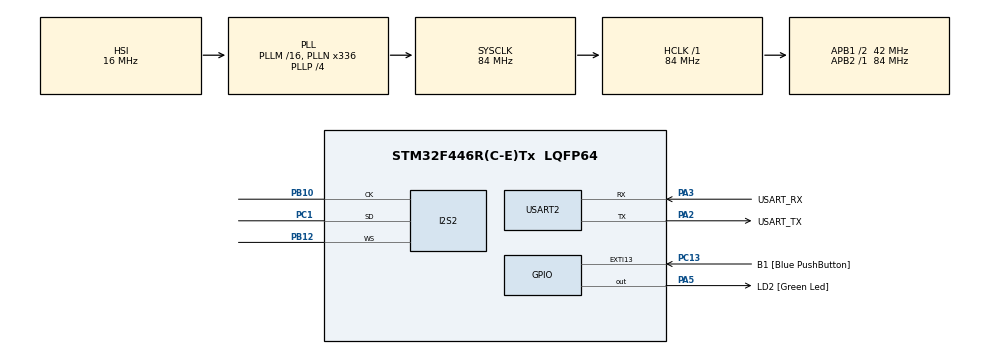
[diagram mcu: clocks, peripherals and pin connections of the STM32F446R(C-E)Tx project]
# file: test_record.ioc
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Dma.Request0=SPI2_TX
Dma.SPI2_TX.0.Direction=DMA_MEMORY_TO_PERIPH
Dma.SPI2_TX.0.FIFOMode=DMA_FIFOMODE_DISABLE
Dma.SPI2_TX.0.Instance=DMA1_Stream4
Dma.SPI2_TX.0.MemDataAlignment=DMA_MDATAALIGN_HALFWORD
Dma.SPI2_TX.0.MemInc=DMA_MINC_ENABLE
Dma.SPI2_TX.0.Mode=DMA_CIRCULAR
Dma.SPI2_TX.0.PeriphDataAlignment=DMA_PDATAALIGN_HALFWORD
Dma.SPI2_TX.0.PeriphInc=DMA_PINC_DISABLE
Dma.SPI2_TX.0.Priority=DMA_PRIORITY_LOW
I2S2.AudioFreq=I2S_AUDIOFREQ_16K
I2S2.DataFormat=I2S_DATAFORMAT_16B_EXTENDED
I2S2.ErrorAudioFreq=-0.26 %
I2S2.FullDuplexMode=I2S_FULLDUPLEXMODE_DISABLE
I2S2.Instance=SPI$Index
I2S2.RealAudioFreq=15.957 KHz
I2S2.VirtualMode=I2S_MODE_MASTER
Mcu.Family=STM32F4
Mcu.Name=STM32F446R(C-E)Tx
Mcu.Package=LQFP64
NVIC.DMA1_Stream4_IRQn=true\:0\:0\:false\:false\:true\:false\:true\:true
NVIC.PriorityGroup=NVIC_PRIORITYGROUP_0
PA13.GPIO_Label=TMS
PA13.Mode=Serial_Wire
PA13.Signal=SYS_JTMS-SWDIO
PA14.GPIO_Label=TCK
PA14.Mode=Serial_Wire
PA14.Signal=SYS_JTCK-SWCLK
PA2.GPIO_Label=USART_TX
PA2.Mode=Asynchronous
PA2.Signal=USART2_TX
PA3.GPIO_Label=USART_RX
PA3.Mode=Asynchronous
PA3.Signal=USART2_RX
PA5.GPIO_Label=LD2 [Green Led]
PA5.Signal=GPIO_Output
PB10.Mode=Half_Duplex_Master
PB10.Signal=I2S2_CK
PB12.Mode=Half_Duplex_Master
PB12.Signal=I2S2_WS
PB3.GPIO_Label=SWO
PB3.Signal=SYS_JTDO-SWO
PC1.Mode=Half_Duplex_Master
PC1.Signal=I2S2_SD
PC13.GPIO_Label=B1 [Blue PushButton]
PC13.GPIO_ModeDefaultEXTI=GPIO_MODE_IT_FALLING
PC13.Signal=GPXTI13
PC14-OSC32_IN.Mode=LSE-External-Oscillator
PC14-OSC32_IN.Signal=RCC_OSC32_IN
PC15-OSC32_OUT.Mode=LSE-External-Oscillator
PC15-OSC32_OUT.Signal=RCC_OSC32_OUT
PH0-OSC_IN.Mode=HSE-External-Oscillator
PH0-OSC_IN.Signal=RCC_OSC_IN
PH1-OSC_OUT.Mode=HSE-External-Oscillator
PH1-OSC_OUT.Signal=RCC_OSC_OUT
ProjectManager.HeapSize=0x200
ProjectManager.StackSize=0x400
ProjectManager.TargetToolchain=STM32CubeIDE
RCC.48MHZClocksFreq_Value=84000000
RCC.AHBFreq_Value=84000000
RCC.APB1CLKDivider=RCC_HCLK_DIV2
RCC.APB1Freq_Value=42000000
RCC.APB1TimFreq_Value=84000000
RCC.APB2Freq_Value=84000000
RCC.APB2TimFreq_Value=84000000
RCC.CortexFreq_Value=84000000
RCC.FLatency-AdvancedSettings=FLASH_LATENCY_2
RCC.HCLKFreq_Value=84000000
RCC.HSE_VALUE=8000000
RCC.HSI_VALUE=16000000
RCC.PLLN=336
RCC.PLLP=RCC_PLLP_DIV4
RCC.SYSCLKFreq_VALUE=84000000
RCC.SYSCLKSource=RCC_SYSCLKSOURCE_PLLCLK
RCC.USBFreq_Value=168000000
RCC.VCOOutputFreq_Value=336000000
USART2.VirtualMode=VM_ASYNC
board=NUCLEO-F446RE

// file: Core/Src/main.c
/* USER CODE BEGIN Header */
/**
  ******************************************************************************
  * @file           : main.c
  * @brief          : Main program body
  ******************************************************************************
  * @attention
  *
  * Copyright (c) 2026 STMicroelectronics.
  * All rights reserved.
  *
  * This software is licensed under terms that can be found in the LICENSE file
  * in the root directory of this software component.
  * If no LICENSE file comes with this software, it is provided AS-IS.
  *
  ******************************************************************************
  */
/* USER CODE END Header */
#include "main.h"

I2S_HandleTypeDef hi2s2;
DMA_HandleTypeDef hdma_spi2_rx;

UART_HandleTypeDef huart2;

/* USER CODE BEGIN PV */
#define I2S_RX_BUF_SIZE 512
#define MAX_SAMPLES (16000 * 10)
#define AUDIO_GAIN 2
#define WARMUP_SAMPLES 4800

uint32_t i2s_rx_buf[I2S_RX_BUF_SIZE];
volatile uint32_t samples_count = 0;
volatile uint32_t total_samples_received = 0;
volatile uint8_t record_active = 0;

#define RING_BUF_SIZE 4096
int16_t ring_buf[RING_BUF_SIZE];
volatile uint32_t ring_head = 0;
volatile uint32_t ring_tail = 0;

void SystemClock_Config(void);
static void MX_GPIO_Init(void);
static void MX_DMA_Init(void);
static void MX_I2S2_Init(void);
static void MX_USART2_UART_Init(void);

static inline void Process_I2S_Samples(uint32_t start_idx, uint32_t end_idx) {
    for (uint32_t i = start_idx; i < end_idx; i += 2) {
        total_samples_received++;
        if (total_samples_received < WARMUP_SAMPLES) continue;

        if (samples_count < MAX_SAMPLES) {
            int16_t L = (int16_t)(i2s_rx_buf[i] & 0xFFFF);
            int16_t R = (int16_t)(i2s_rx_buf[i+1] & 0xFFFF);
            int32_t mixed_long = ((int32_t)L + (int32_t)R) * AUDIO_GAIN;

            if (mixed_long > 32767) mixed_long = 32767;
            else if (mixed_long < -32768) mixed_long = -32768;

            uint32_t next = (ring_head + 1) % RING_BUF_SIZE;
            if (next != ring_tail) {
                ring_buf[ring_head] = (int16_t)mixed_long;
                ring_head = next;
                samples_count++;
            }
        } else {
            record_active = 0;
            return;
        }
    }
}

void HAL_I2S_RxHalfCpltCallback(I2S_HandleTypeDef *hi2s) {
    if (record_active) Process_I2S_Samples(0, I2S_RX_BUF_SIZE / 2);
}

void HAL_I2S_RxCpltCallback(I2S_HandleTypeDef *hi2s) {
    if (record_active) Process_I2S_Samples(I2S_RX_BUF_SIZE / 2, I2S_RX_BUF_SIZE);
}
/* USER CODE END 0 */

int main(void)
{

  /* MCU Configuration--------------------------------------------------------*/

  /* Reset of all peripherals, Initializes the Flash interface and the Systick. */
  HAL_Init();

  /* Configure the system clock */
  SystemClock_Config();

  /* Initialize all configured peripherals */
  MX_GPIO_Init();
  MX_DMA_Init();
  MX_I2S2_Init();
  MX_USART2_UART_Init();

  /* Infinite loop */
  while (1)
  {

  /* USER CODE BEGIN 3 */
    if (ring_tail != ring_head) {
        uint32_t count = 0;
        int16_t tx_buf[64];
        while (ring_tail != ring_head && count < 64) {
            tx_buf[count++] = ring_buf[ring_tail];
            ring_tail = (ring_tail + 1) % RING_BUF_SIZE;
        }
        HAL_UART_Transmit(&huart2, (uint8_t*)tx_buf, count * 2, 100);
    }

    if (HAL_GPIO_ReadPin(GPIOC, GPIO_PIN_13) == GPIO_PIN_RESET) {
        HAL_Delay(50);
        if (!record_active && samples_count == 0) {
            ring_head = 0;
            ring_tail = 0;
            samples_count = 0;
            total_samples_received = 0;

            uint8_t header[4] = {'R', 'E', 'C', '!'};
            HAL_UART_Transmit(&huart2, header, 4, 100);

            HAL_GPIO_WritePin(LD2_GPIO_Port, LD2_Pin, GPIO_PIN_SET);

            record_active = 1;
            if (HAL_I2S_Receive_DMA(&hi2s2, (uint16_t *)i2s_rx_buf, I2S_RX_BUF_SIZE) != HAL_OK) {
                record_active = 0;
                for(int i=0; i<10; i++) {
                    HAL_GPIO_TogglePin(LD2_GPIO_Port, LD2_Pin);
                    HAL_Delay(50);
                }
            }
        }
    }

    if (!record_active && samples_count >= MAX_SAMPLES && ring_tail == ring_head) {
        HAL_I2S_DMAStop(&hi2s2);
        HAL_GPIO_WritePin(LD2_GPIO_Port, LD2_Pin, GPIO_PIN_RESET);
        samples_count = 0;
        HAL_Delay(1000);
    }
  }
  /* USER CODE END 3 */
}

void SystemClock_Config(void)
{
  RCC_OscInitTypeDef RCC_OscInitStruct = {0};
  RCC_ClkInitTypeDef RCC_ClkInitStruct = {0};

  /** Configure the main internal regulator output voltage
  */
  __HAL_RCC_PWR_CLK_ENABLE();
  __HAL_PWR_VOLTAGESCALING_CONFIG(PWR_REGULATOR_VOLTAGE_SCALE3);

  /** Initializes the RCC Oscillators according to the specified parameters
  * in the RCC_OscInitTypeDef structure.
  */
  RCC_OscInitStruct.OscillatorType = RCC_OSCILLATORTYPE_HSI;
  RCC_OscInitStruct.HSIState = RCC_HSI_ON;
  RCC_OscInitStruct.HSICalibrationValue = RCC_HSICALIBRATION_DEFAULT;
  RCC_OscInitStruct.PLL.PLLState = RCC_PLL_ON;
  RCC_OscInitStruct.PLL.PLLSource = RCC_PLLSOURCE_HSI;
  RCC_OscInitStruct.PLL.PLLM = 16;
  RCC_OscInitStruct.PLL.PLLN = 336;
  RCC_OscInitStruct.PLL.PLLP = RCC_PLLP_DIV4;
  RCC_OscInitStruct.PLL.PLLQ = 2;
  RCC_OscInitStruct.PLL.PLLR = 2;
  if (HAL_RCC_OscConfig(&RCC_OscInitStruct) != HAL_OK)
  {
    Error_Handler();
  }

  /** Initializes the CPU, AHB and APB buses clocks
  */
  RCC_ClkInitStruct.ClockType = RCC_CLOCKTYPE_HCLK|RCC_CLOCKTYPE_SYSCLK
                              |RCC_CLOCKTYPE_PCLK1|RCC_CLOCKTYPE_PCLK2;
  RCC_ClkInitStruct.SYSCLKSource = RCC_SYSCLKSOURCE_PLLCLK;
  RCC_ClkInitStruct.AHBCLKDivider = RCC_SYSCLK_DIV1;
  RCC_ClkInitStruct.APB1CLKDivider = RCC_HCLK_DIV2;
  RCC_ClkInitStruct.APB2CLKDivider = RCC_HCLK_DIV1;

  if (HAL_RCC_ClockConfig(&RCC_ClkInitStruct, FLASH_LATENCY_2) != HAL_OK)
  {
    Error_Handler();
  }
}

static void MX_I2S2_Init(void)
{

  hi2s2.Instance = SPI2;
  hi2s2.Init.Mode = I2S_MODE_MASTER_RX;
  hi2s2.Init.Standard = I2S_STANDARD_PHILIPS;
  hi2s2.Init.DataFormat = I2S_DATAFORMAT_16B_EXTENDED;
  hi2s2.Init.MCLKOutput = I2S_MCLKOUTPUT_DISABLE;
  hi2s2.Init.AudioFreq = I2S_AUDIOFREQ_16K;
  hi2s2.Init.CPOL = I2S_CPOL_LOW;
  hi2s2.Init.ClockSource = I2S_CLOCK_PLL;
  hi2s2.Init.FullDuplexMode = I2S_FULLDUPLEXMODE_DISABLE;
  if (HAL_I2S_Init(&hi2s2) != HAL_OK)
  {
    Error_Handler();
  }

}

static void MX_USART2_UART_Init(void)
{

  huart2.Instance = USART2;
  huart2.Init.BaudRate = 460800;
  huart2.Init.WordLength = UART_WORDLENGTH_8B;
  huart2.Init.StopBits = UART_STOPBITS_1;
  huart2.Init.Parity = UART_PARITY_NONE;
  huart2.Init.Mode = UART_MODE_TX_RX;
  huart2.Init.HwFlowCtl = UART_HWCONTROL_NONE;
  huart2.Init.OverSampling = UART_OVERSAMPLING_16;
  if (HAL_UART_Init(&huart2) != HAL_OK)
  {
    Error_Handler();
  }

}

static void MX_DMA_Init(void)
{

  /* DMA controller clock enable */
  __HAL_RCC_DMA1_CLK_ENABLE();

  /* DMA interrupt init */
  /* DMA1_Stream3_IRQn interrupt configuration */
  HAL_NVIC_SetPriority(DMA1_Stream3_IRQn, 0, 0);
  HAL_NVIC_EnableIRQ(DMA1_Stream3_IRQn);

}

static void MX_GPIO_Init(void)
{
  GPIO_InitTypeDef GPIO_InitStruct = {0};

  /* GPIO Ports Clock Enable */
  __HAL_RCC_GPIOC_CLK_ENABLE();
  __HAL_RCC_GPIOH_CLK_ENABLE();
  __HAL_RCC_GPIOA_CLK_ENABLE();
  __HAL_RCC_GPIOB_CLK_ENABLE();

  /*Configure GPIO pin Output Level */
  HAL_GPIO_WritePin(LD2_GPIO_Port, LD2_Pin, GPIO_PIN_RESET);

  /*Configure GPIO pin : B1_Pin */
  GPIO_InitStruct.Pin = B1_Pin;
  GPIO_InitStruct.Mode = GPIO_MODE_IT_FALLING;
  GPIO_InitStruct.Pull = GPIO_NOPULL;
  HAL_GPIO_Init(B1_GPIO_Port, &GPIO_InitStruct);

  /*Configure GPIO pin : LD2_Pin */
  GPIO_InitStruct.Pin = LD2_Pin;
  GPIO_InitStruct.Mode = GPIO_MODE_OUTPUT_PP;
  GPIO_InitStruct.Pull = GPIO_NOPULL;
  GPIO_InitStruct.Speed = GPIO_SPEED_FREQ_LOW;
  HAL_GPIO_Init(LD2_GPIO_Port, &GPIO_InitStruct);

}

void Error_Handler(void)
{
  __disable_irq();
  while (1)
  {
  }
}
